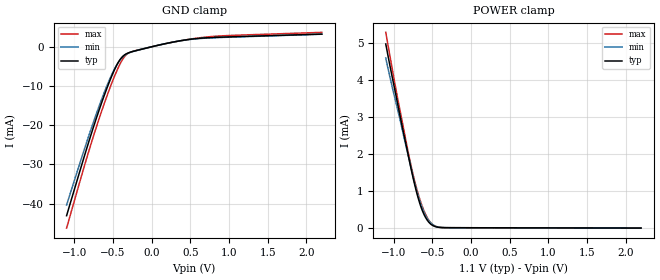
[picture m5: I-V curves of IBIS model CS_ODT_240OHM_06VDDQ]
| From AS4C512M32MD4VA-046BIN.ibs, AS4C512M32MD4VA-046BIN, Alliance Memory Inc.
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|   MODEL: CS_ODT_240OHM_06VDDQ
[Model]   CS_ODT_240OHM_06VDDQ
Model_type   Input
Vinl   = 0.080V
Vinh   = 0.220V
|   typ   min   max
C_comp   0.564pF   0.508pF   0.620pF
[Voltage Range]   1.100V   1.060V   1.170V
[Temperature Range]   25.0   85.0   -40.0
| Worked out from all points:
|   GND clamp passes 1 mA (typ) near -0.21 V on its own axis
|   POWER clamp passes 1 mA (typ) near -0.71 V on its own axis
[GND Clamp]
|   Voltage   I(typ)   I(min)   I(max)
-1.1V     -43.08mA   -40.37mA   -46.25mA
-800mV    -23.42mA   -21.95mA   -25.8mA
-700mV    -17.33mA   -16.26mA   -19.56mA
-590mV    -11.18mA   -10.51mA   -13.21mA
-510mV    -7.183mA   -6.843mA   -8.987mA
-440mV    -4.276mA   -4.232mA   -5.681mA
-380mV    -2.578mA   -2.675mA   -3.352mA
-320mV    -1.716mA   -1.794mA   -1.886mA
-220mV    -1.073mA   -1.086mA   -1.031mA
200mV     897uA      891.7uA    875.9uA
670mV     2.237mA    2.166mA    2.406mA
2.2V      3.233mA    3.207mA    3.676mA
[POWER Clamp]
|   Voltage   I(typ)   I(min)   I(max)
-1.1V     4.96mA     4.581mA    5.274mA
-1.03V    4.206mA    3.92mA     4.447mA
-930mV    3.17mA     3.045mA    3.317mA
-810mV    1.963mA    1.951mA    2.04mA
-740mV    1.285mA    1.327mA    1.377mA
-680mV    795uA      858.9uA    906.7uA
-620mV    427.5uA    491.4uA    531.1uA
-560mV    193.8uA    239.2uA    260.5uA
-490mV    57.63uA    77.67uA    81.49uA
-420mV    12.84uA    18.74uA    17.27uA
-320mV    1.928uA    2.701uA    1.992uA
2.2V      -8.728uA   -10.49uA   -8.672uA
